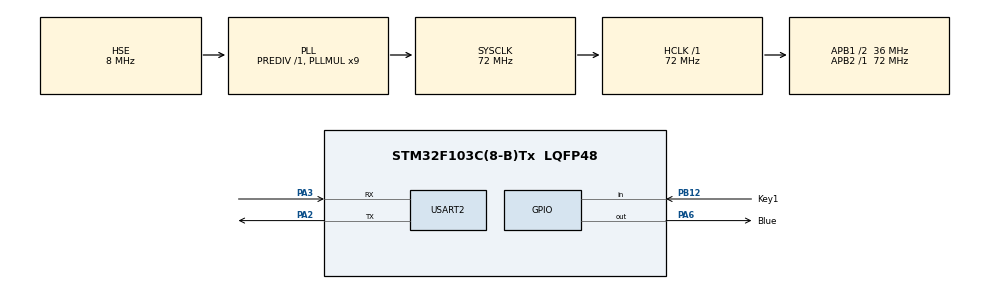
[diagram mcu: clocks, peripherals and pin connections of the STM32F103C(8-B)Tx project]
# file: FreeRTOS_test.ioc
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FREERTOS.Tasks01=defaultTask,24,128,StartDefaultTask,Default,NULL,Dynamic,NULL,NULL
FREERTOS.Timers01=TimerPeriod,TimerPeriodCallback,osTimerPeriodic,Default,NULL,Dynamic,NULL;TimerOnce,TimerOnceCallback,osTimerOnce,Default,NULL,Dynamic,NULL
Mcu.Family=STM32F1
Mcu.Name=STM32F103C(8-B)Tx
Mcu.Package=LQFP48
NVIC.PriorityGroup=NVIC_PRIORITYGROUP_4
NVIC.TIM4_IRQn=true\:15\:0\:false\:false\:true\:false\:false\:true\:true
NVIC.TimeBase=TIM4_IRQn
NVIC.TimeBaseIP=TIM4
PA13.Mode=Serial_Wire
PA13.Signal=SYS_JTMS-SWDIO
PA14.Mode=Serial_Wire
PA14.Signal=SYS_JTCK-SWCLK
PA2.Mode=Asynchronous
PA2.Signal=USART2_TX
PA3.Mode=Asynchronous
PA3.Signal=USART2_RX
PA6.GPIO_Label=Blue
PA6.Signal=GPIO_Output
PB12.GPIO_Label=Key1
PB12.Signal=GPIO_Input
PD0-OSC_IN.Mode=HSE-External-Oscillator
PD0-OSC_IN.Signal=RCC_OSC_IN
PD1-OSC_OUT.Mode=HSE-External-Oscillator
PD1-OSC_OUT.Signal=RCC_OSC_OUT
ProjectManager.HeapSize=0x200
ProjectManager.StackSize=0x400
ProjectManager.TargetToolchain=STM32CubeIDE
RCC.AHBFreq_Value=72000000
RCC.APB1CLKDivider=RCC_HCLK_DIV2
RCC.APB1Freq_Value=36000000
RCC.APB1TimFreq_Value=72000000
RCC.APB2Freq_Value=72000000
RCC.APB2TimFreq_Value=72000000
RCC.HCLKFreq_Value=72000000
RCC.PLLMUL=RCC_PLL_MUL9
RCC.PLLSourceVirtual=RCC_PLLSOURCE_HSE
RCC.SYSCLKFreq_VALUE=72000000
RCC.SYSCLKSource=RCC_SYSCLKSOURCE_PLLCLK
RCC.USBFreq_Value=72000000
USART2.VirtualMode=VM_ASYNC
VP_FREERTOS_VS_CMSIS_V2.Mode=CMSIS_V2
VP_SYS_VS_tim4.Mode=TIM4
board=custom

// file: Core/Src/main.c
/* USER CODE BEGIN Header */
/**
  ******************************************************************************
  * @file           : main.c
  * @brief          : Main program body
  ******************************************************************************
  * @attention
  *
  * Copyright (c) 2025 STMicroelectronics.
  * All rights reserved.
  *
  * This software is licensed under terms that can be found in the LICENSE file
  * in the root directory of this software component.
  * If no LICENSE file comes with this software, it is provided AS-IS.
  *
  ******************************************************************************
  */
/* USER CODE END Header */
#include "main.h"
#include "cmsis_os.h"
#include "usart.h"
#include "gpio.h"

void SystemClock_Config(void);
void MX_FREERTOS_Init(void);

int main(void)
{

  /* MCU Configuration--------------------------------------------------------*/

  /* Reset of all peripherals, Initializes the Flash interface and the Systick. */
  HAL_Init();

  /* Configure the system clock */
  SystemClock_Config();

  /* Initialize all configured peripherals */
  MX_GPIO_Init();
  MX_USART2_UART_Init();

  /* Init scheduler */
  osKernelInitialize();

  /* Call init function for freertos objects (in cmsis_os2.c) */
  MX_FREERTOS_Init();

  /* Start scheduler */
  osKernelStart();

  /* We should never get here as control is now taken by the scheduler */

  /* Infinite loop */
  while (1)
  {

  }
}

void SystemClock_Config(void)
{
  RCC_OscInitTypeDef RCC_OscInitStruct = {0};
  RCC_ClkInitTypeDef RCC_ClkInitStruct = {0};

  /** Initializes the RCC Oscillators according to the specified parameters
  * in the RCC_OscInitTypeDef structure.
  */
  RCC_OscInitStruct.OscillatorType = RCC_OSCILLATORTYPE_HSE;
  RCC_OscInitStruct.HSEState = RCC_HSE_ON;
  RCC_OscInitStruct.HSEPredivValue = RCC_HSE_PREDIV_DIV1;
  RCC_OscInitStruct.HSIState = RCC_HSI_ON;
  RCC_OscInitStruct.PLL.PLLState = RCC_PLL_ON;
  RCC_OscInitStruct.PLL.PLLSource = RCC_PLLSOURCE_HSE;
  RCC_OscInitStruct.PLL.PLLMUL = RCC_PLL_MUL9;
  if (HAL_RCC_OscConfig(&RCC_OscInitStruct) != HAL_OK)
  {
    Error_Handler();
  }

  /** Initializes the CPU, AHB and APB buses clocks
  */
  RCC_ClkInitStruct.ClockType = RCC_CLOCKTYPE_HCLK|RCC_CLOCKTYPE_SYSCLK
                              |RCC_CLOCKTYPE_PCLK1|RCC_CLOCKTYPE_PCLK2;
  RCC_ClkInitStruct.SYSCLKSource = RCC_SYSCLKSOURCE_PLLCLK;
  RCC_ClkInitStruct.AHBCLKDivider = RCC_SYSCLK_DIV1;
  RCC_ClkInitStruct.APB1CLKDivider = RCC_HCLK_DIV2;
  RCC_ClkInitStruct.APB2CLKDivider = RCC_HCLK_DIV1;

  if (HAL_RCC_ClockConfig(&RCC_ClkInitStruct, FLASH_LATENCY_2) != HAL_OK)
  {
    Error_Handler();
  }
}

void HAL_TIM_PeriodElapsedCallback(TIM_HandleTypeDef *htim)
{
  if (htim->Instance == TIM4)
  {
    HAL_IncTick();
  }
}

void Error_Handler(void)
{
  __disable_irq();
  while (1)
  {
  }
}

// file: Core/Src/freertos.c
/* USER CODE BEGIN Header */
/**
 ******************************************************************************
 * File Name          : freertos.c
 * Description        : Code for freertos applications
 ******************************************************************************
 * @attention
 *
 * Copyright (c) 2025 STMicroelectronics.
 * All rights reserved.
 *
 * This software is licensed under terms that can be found in the LICENSE file
 * in the root directory of this software component.
 * If no LICENSE file comes with this software, it is provided AS-IS.
 *
 ******************************************************************************
 */
/* USER CODE END Header */

#include "FreeRTOS.h"
#include "task.h"
#include "main.h"
#include "cmsis_os.h"

/* USER CODE BEGIN Includes */
#include"event_groups.h"
#include"queue.h"
#include"timers.h"
#include"stdio.h"
#include"string.h"
#include"usart.h"
/* USER CODE END Includes */

/* Definitions for defaultTask */
osThreadId_t defaultTaskHandle;
const osThreadAttr_t defaultTask_attributes = { .name = "defaultTask",
		.stack_size = 128 * 4, .priority = (osPriority_t) osPriorityNormal, };
/* Definitions for TimerPeriod */
osTimerId_t TimerPeriodHandle;
const osTimerAttr_t TimerPeriod_attributes = { .name = "TimerPeriod" };
/* Definitions for TimerOnce */
osTimerId_t TimerOnceHandle;
const osTimerAttr_t TimerOnce_attributes = { .name = "TimerOnce" };

void StartDefaultTask(void *argument);
void TimerPeriodCallback(void *argument);
void TimerOnceCallback(void *argument);

void MX_FREERTOS_Init(void); /* (MISRA C 2004 rule 8.1) */

void MX_FREERTOS_Init(void) {

	/* Create the timer(s) */
	/* creation of TimerPeriod */
	TimerPeriodHandle = osTimerNew(TimerPeriodCallback, osTimerPeriodic, NULL,
			&TimerPeriod_attributes);

	/* creation of TimerOnce */
	TimerOnceHandle = osTimerNew(TimerOnceCallback, osTimerOnce, NULL,
			&TimerOnce_attributes);

	/* USER CODE BEGIN RTOS_TIMERS */
	/* start timers, add new ones, ... */
	xTimerChangePeriod(TimerOnceHandle, 3000, 100);
	xTimerChangePeriod(TimerPeriodHandle, 2000, 100);
	xTimerStart(TimerPeriodHandle, 100);
	/* USER CODE END RTOS_TIMERS */

	/* Create the thread(s) */
	/* creation of defaultTask */
	defaultTaskHandle = osThreadNew(StartDefaultTask, NULL,
			&defaultTask_attributes);

}

void StartDefaultTask(void *argument) {
	/* USER CODE BEGIN StartDefaultTask */
	/* Infinite loop */
	for (;;) {
		if (HAL_GPIO_ReadPin(Key1_GPIO_Port, Key1_Pin) == GPIO_PIN_RESET) {
			vTaskDelay(10);
			if (HAL_GPIO_ReadPin(Key1_GPIO_Port, Key1_Pin) == GPIO_PIN_RESET) {
				xTimerStart(TimerOnceHandle, 100);
			}

		}
		vTaskDelay(100);
	}
	/* USER CODE END StartDefaultTask */
}

/* TimerPeriodCallback function */
void TimerPeriodCallback(void *argument) {
	/* USER CODE BEGIN TimerPeriodCallback */
	char temp[] = "Period\n";
	HAL_UART_Transmit(&huart2, (uint8_t*) temp, strlen(temp), 100);
	HAL_GPIO_TogglePin(Blue_GPIO_Port, Blue_Pin);
	/* USER CODE END TimerPeriodCallback */
}

/* TimerOnceCallback function */
void TimerOnceCallback(void *argument) {
	/* USER CODE BEGIN TimerOnceCallback */
	char temp[] = "Once\n";
	HAL_UART_Transmit(&huart2, (uint8_t*) temp, strlen(temp), 100);
	/* USER CODE END TimerOnceCallback */
}
